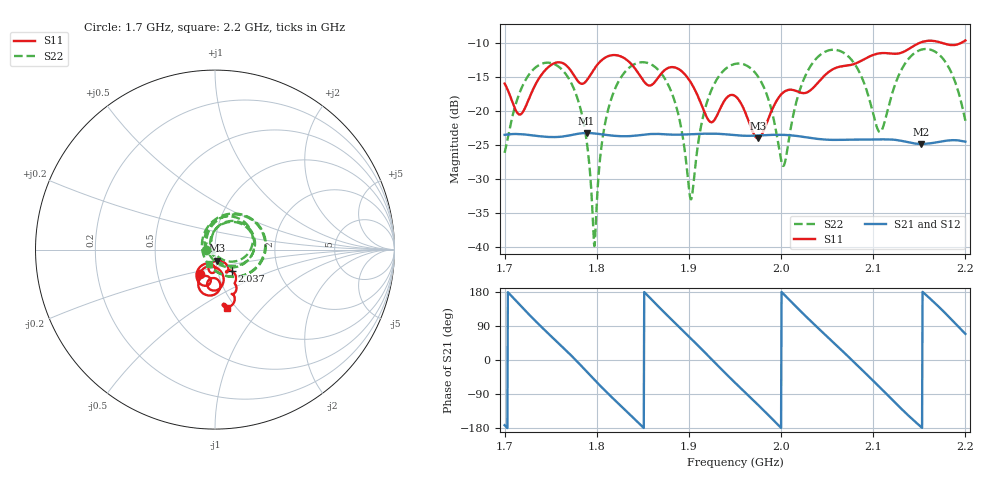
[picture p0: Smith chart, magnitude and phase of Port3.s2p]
# Hz S RI R 50
! CMT, CMT808U, 21440046, 21.4.3/4
! Date: 11/17/2025 2:28:36 PM
! Data: Format (Calibration Info)
! Freq	S11:Re/Im(F2)	S41:Re/Im(F2)	S14:Re/Im(F2)	S44:Re/Im(F2)
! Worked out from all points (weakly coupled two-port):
!   1001 points, 1.7 GHz to 2.2 GHz, reference 50 ohm
!   highest |S21| = -23.22 dB at 1.789 GHz (marker M1); lowest = -24.8 dB at 2.152 GHz (marker M2)
!   lowest |S11| = -24.0 dB at 1.975 GHz (marker M3), VSWR 1.13, Z = 50.5 - j6.33 ohm
!   |S11| at or under -10 dB: start of sweep to 2.15 GHz; 2.175 GHz to 2.195 GHz (19.84 MHz wide, 0.908 % of centre)
!   |S22| runs from -39.9 to -10.9 dB; largest |S21 - S12| = 0.00021
!   S11 on the Smith chart (normalised r, x): 1.7 GHz: 0.82, -0.23; 2.037 GHz: 1.17, -0.29; 2.2 GHz: 0.91, -0.66
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1.7e9  -0.0823 -0.1365  -0.0662 -0.00922  -0.0663 -0.00912  -0.0493 -0.00124
1.717e9  -0.0115 -0.0937  -0.0549 0.0397  -0.0548 0.0398  -0.025 0.1381
1.739e9  0.048 -0.1745  0.000427 0.0652  0.00055 0.0652  0.144 0.1675
1.7835e9  -0.0101 -0.1584  0.0659 -0.0193  0.0659 -0.0194  0.0713 -0.0654
1.789e9  0.0144 -0.1671  0.0594 -0.0351  0.0594 -0.0352  0.0329 -0.0507
1.7975e9  0.03 -0.2032  0.0418 -0.0543  0.0417 -0.0544  -0.00934 -0.004
1.8065e9  0.0126 -0.2399  0.0177 -0.0649  0.0176 -0.065  -0.019 0.0616
1.8195e9  -0.0415 -0.2547  -0.0178 -0.0633  -0.018 -0.0633  0.0323 0.1404
1.867e9  -0.0234 -0.176  -0.0527 0.0429  -0.0526 0.043  0.1947 -0.0457
1.887e9  -0.0854 -0.1882  -0.00322 0.067  -0.00308 0.067  0.0581 -0.0858
1.902e9  -0.1008 -0.1277  0.0367 0.0566  0.0369 0.0566  -0.0208 -0.00856
1.921e9  -0.0391 -0.0768  0.0671 0.0128  0.0671 0.0126  0.0133 0.1236
1.95e9  -0.0271 -0.1263  0.0334 -0.0575  0.0333 -0.0576  0.2018 0.093
1.975e9  0.00916 -0.0624  -0.0315 -0.0582  -0.0316 -0.0581  0.1613 -0.0784
2.0025e9  0.0739 -0.1157  -0.0666 0.00622  -0.0666 0.00634  -0.0367 -0.0146
2.0335e9  0.0862 -0.117  -0.0106 0.0623  -0.0104 0.0624  0.105 0.1956
2.0365e9  0.0937 -0.1199  -0.00292 0.0627  -0.00278 0.0628  0.1346 0.1939
2.085e9  0.1166 -0.199  0.0582 -0.0205  0.0582 -0.0206  0.1207 -0.1507
2.106e9  0.109 -0.2419  0.022 -0.0578  0.022 -0.0579  -0.0642 -0.0303
2.117e9  0.0943 -0.2483  -0.00618 -0.0616  -0.00629 -0.0616  -0.0587 0.0939
2.152e9  0.0988 -0.3047  -0.0572 -0.00317  -0.0573 -0.00309  0.259 0.1132
2.2e9  0.0674 -0.3236  0.0214 0.0556  0.0215 0.0556  -0.0343 -0.0777
